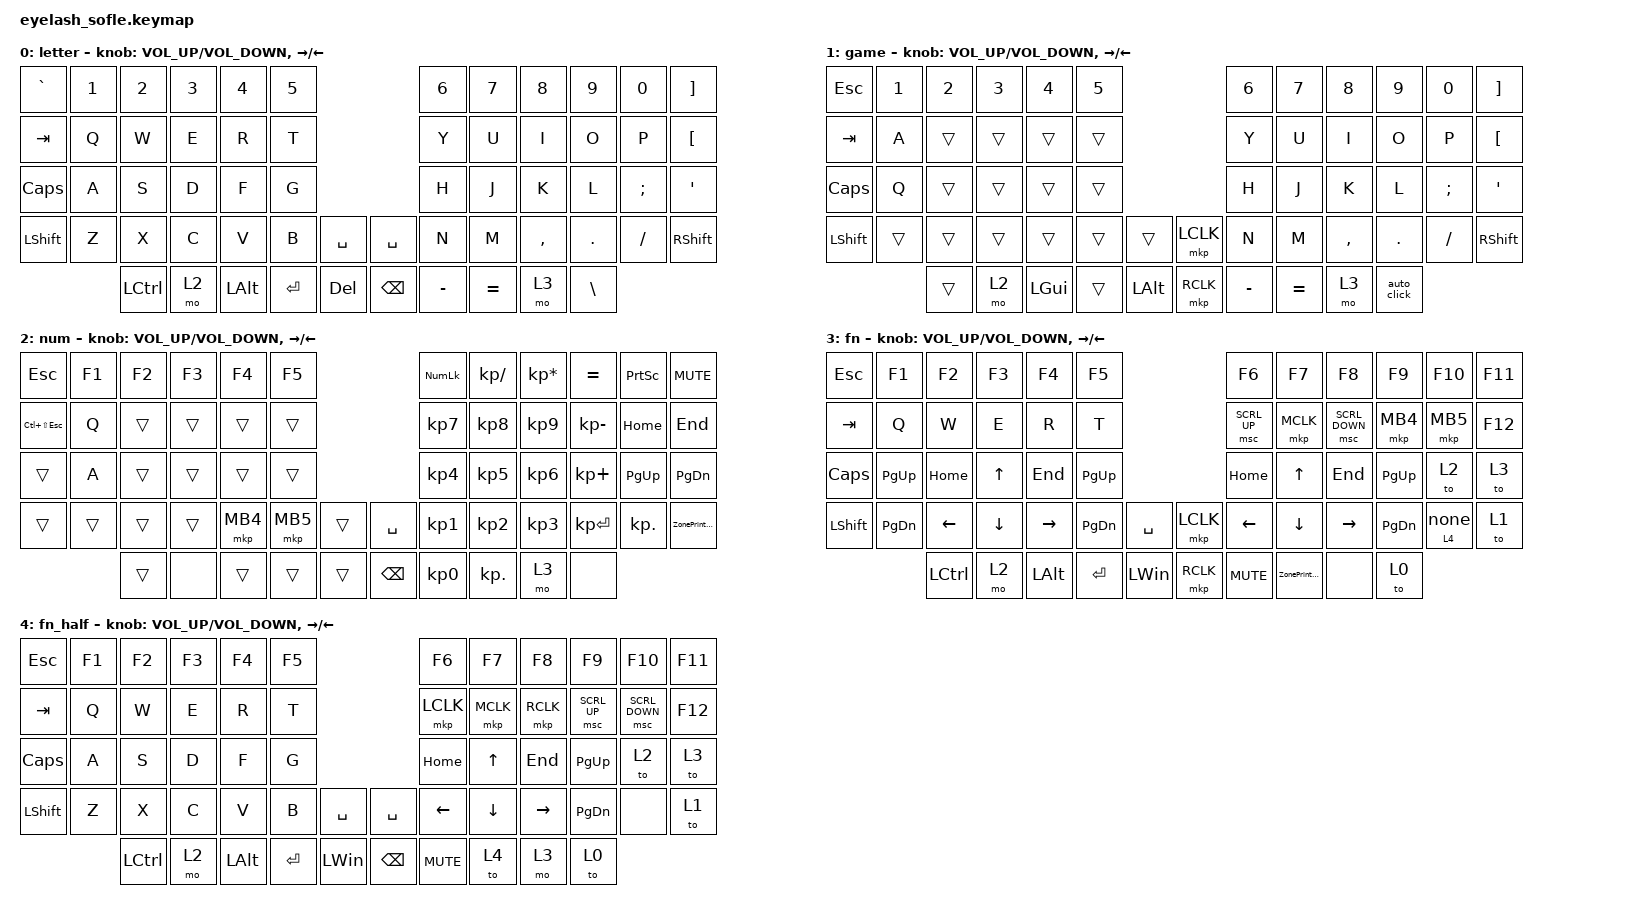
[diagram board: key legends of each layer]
#define ZMK_POINTING_DEFAULT_MOVE_VAL 1200  // 600
#define ZMK_POINTING_DEFAULT_SCRL_VAL 50   // 10

#include <input/processors.dtsi>
#include <zephyr/dt-bindings/input/input-event-codes.h>
#include <dt-bindings/zmk/mouse.h>
#include <behaviors.dtsi>
#include <dt-bindings/zmk/keys.h>
#include <dt-bindings/zmk/pointing.h>

#define BASE 0
#define LOWER 1
#define RAISE 2
#define MOUSE 3
#define SCROLL 4

//&mmv_input_listener { input-processors = <&zip_xy_scaler 2 1>; };
//&msc_input_listener { input-processors = <&zip_scroll_scaler 2 1>; };

&mmv {
    time-to-max-speed-ms = <500>;
    acceleration-exponent = <1>;
    trigger-period-ms = <16>;
};

&msc {
    time-to-max-speed-ms = <50>;
    acceleration-exponent = <1>;
};

/ {
    // Activate MOUSE layer by pressing raise and lower

    conditional_layers { compatible = "zmk,conditional-layers"; };

    combos {
        compatible = "zmk,combos";

        /*
        *lang {
        *    bindings = <&kp RALT>;
        *    key-positions = <34 35>;
        *    layers = <0>;
        *    timeout-ms = <90>;
        *};
        */
        /*
        *b_key {
        *    bindings = <&kp B>;
        *    key-positions = <35 36>;
        *    layers = <0>;
        *    timeout-ms = <90>;
        *};
        */
    };

    macros {
        arrow: arrow {
            compatible = "zmk,behavior-macro";
            #binding-cells = <0>;
            bindings = <&kp MINUS &kp GT>;
        };

        /*
        *arrow2: arrow2 {
        *    compatible = "zmk,behavior-macro";
        *    #binding-cells = <0>;
        *    bindings =
        *        <&macro_release>,
        *        <&kp LSHFT>,
        *        <&macro_tap>,
        *        <&kp EQUAL &kp GT>;
        *};
        */

        ZonePrintScreen: ZonePrintScreen {
            compatible = "zmk,behavior-macro";
            #binding-cells = <0>;
            bindings = <&kp LS(LG(S))>;
            label = "ZONEPRINTSCREEN";
        };

        lm: lm {
            compatible = "zmk,behavior-macro-two-param";
            wait-ms = <0>;
            tap-ms = <0>;
            #binding-cells = <2>;
            bindings =
                <&macro_param_1to1>,
                <&macro_press>,
                <&mo MACRO_PLACEHOLDER &macro_param_2to1>,
                <&macro_press>,
                <&kp MACRO_PLACEHOLDER>,
                <&macro_pause_for_release>,
                <&macro_param_2to1>,
                <&macro_release>,
                <&kp MACRO_PLACEHOLDER &macro_param_1to1>,
                <&macro_release>,
                <&mo MACRO_PLACEHOLDER>;
        };

        rk: rk {
            compatible = "zmk,behavior-macro-two-param";
            wait-ms = <0>;
            tap-ms = <0>;
            #binding-cells = <2>;
            bindings =
                <&macro_param_1to1>,
                <&macro_release>,
                <&kp MACRO_PLACEHOLDER &macro_param_2to1>,
                <&macro_tap>,
                <&kp MACRO_PLACEHOLDER>;
        };

        ZonePrintScreenUbuntu: ZonePrintScreenUbuntu {
            compatible = "zmk,behavior-macro";
            #binding-cells = <0>;
            bindings = <&kp LC(LS(PRINTSCREEN))>;
            label = "ZONEPRINTSCREENUBUNTU";
        };

        auto_click: auto_click {
            label = "AUTO_CLICK";
            compatible = "zmk,behavior-macro";
            #binding-cells = <0>;
            wait-ms = <25>;
            bindings = <&mkp LCLK &mkp LCLK &mkp LCLK &mkp LCLK &mkp LCLK &mkp LCLK &mkp LCLK &mkp LCLK &mkp LCLK &mkp LCLK &mkp LCLK &mkp LCLK &mkp LCLK &mkp LCLK &mkp LCLK &mkp LCLK &mkp LCLK &mkp LCLK &mkp LCLK &mkp LCLK &mkp LCLK &mkp LCLK &mkp LCLK &mkp LCLK &mkp LCLK &mkp LCLK &mkp LCLK &mkp LCLK &mkp LCLK>;
        };
    };

    behaviors {
        skq: sticky_key_quick_release {
            compatible = "zmk,behavior-sticky-key";
            #binding-cells = <1>;
            bindings = <&kp>;
            release-after-ms = <500>;
            quick-release;
        };

        /*
        *caps_word_mod: caps_word_mod {
        *    compatible = "zmk,behavior-caps-word-custom";
        *    #binding-cells = <0>;
        *    continue-list = <MINUS UNDERSCORE BSPC>;
        *};
        */

        G_ESC: G_ESC {
            compatible = "zmk,behavior-hold-tap";
            bindings = <&kp>, <&kp>;

            #binding-cells = <2>;
            tapping-term-ms = <130>;
            hold-trigger-key-positions = <0>;
            flavor = "tap-preferred";
        };

        /*
        *SH_CAPS: SH_CAPS {
        *    compatible = "zmk,behavior-tap-dance";
        *    #binding-cells = <0>;
        *    bindings = <&skq LSHFT>, <&caps_word_mod>;
        *};
        */

        mo_tg: mo_tg {
            compatible = "zmk,behavior-tap-dance";
            #binding-cells = <0>;
            bindings = <&mo 0>, <&tog 0>;
        };

        mouse_scroll: sensor_scroll {
            compatible = "zmk,behavior-sensor-rotate-var";
            #sensor-binding-cells = <2>;
            bindings = <&msc>, <&msc>;
        };

        func: func {
            compatible = "zmk,behavior-tap-dance";
            #binding-cells = <0>;
            bindings = <&kp F11>, <&kp F12>;

            tapping-term-ms = <200>;
        };

        ht: hold_tap {
            label = "hold_tap";
            compatible = "zmk,behavior-hold-tap";
            #binding-cells = <2>;
            flavor = "tap-preferred";
            tapping-term-ms = <220>;
            quick-tap-ms = <150>;
            global-quick-tap;
            bindings = <&kp>, <&kp>;
        };

        hm: homerow_mods {
            compatible = "zmk,behavior-hold-tap";
            label = "HOMEROW_MODS";
            #binding-cells = <2>;
            tapping-term-ms = <200>;
            quick_tap_ms = <0>;
            flavor = "tap-preferred";
            bindings = <&kp>, <&kp>;
        };

        td: tapdance {
            compatible = "zmk,behavior-hold-tap";
            label = "TAPDANCE";
            #binding-cells = <2>;
            tapping-term-ms = <150>;
            quick_tap_ms = <0>;
            flavor = "tap-preferred";
            bindings = <&kp>, <&kp>;
        };

        tog_game_hold: tog_game_hold {
            compatible = "zmk,behavior-hold-tap";
            #binding-cells = <2>;
            flavor = "hold-preferred";
            tapping-term-ms = <1000>;
            bindings = <&tog>, <&none>;
        };

        to_game_hold: to_game_hold {
            compatible = "zmk,behavior-hold-tap";
            label = "TO_GAME_HOLD";
            bindings = <&to>, <&none>;

            #binding-cells = <2>;
            tapping-term-ms = <1000>;
        };

        mo_game_hold: mo_game_hold {
            compatible = "zmk,behavior-hold-tap";
            label = "MO_GAME_HOLD";
            bindings = <&mo>, <&none>;

            #binding-cells = <2>;
            tapping-term-ms = <2000>;
        };
    };

    keymap {
        compatible = "zmk,keymap";

        letter_layer {
            display-name = "letter";
            bindings = <
&kp GRAVE  &kp NUMBER_1  &kp NUMBER_2      &kp NUMBER_3  &kp NUMBER_4  &kp NUMBER_5                           &kp NUMBER_6  &kp NUMBER_7  &kp NUMBER_8  &kp NUMBER_9   &kp NUMBER_0   &kp RIGHT_BRACKET
&kp TAB    &kp Q         &kp W             &kp E         &kp R         &kp T                                  &kp Y         &kp U         &kp I         &kp O          &kp P          &kp LEFT_BRACKET
&kp CAPS   &kp A         &kp S             &kp D         &kp F         &kp G                                  &kp H         &kp J         &kp K         &kp L          &kp SEMICOLON  &kp SQT
&kp LSHFT  &kp Z         &kp X             &kp C         &kp V         &kp B         &kp SPACE     &kp SPACE  &kp N         &kp M         &kp COMMA     &kp DOT        &kp SLASH      &kp RIGHT_SHIFT
                         &kp LEFT_CONTROL  &mo 2         &kp LEFT_ALT  &kp ENTER     &kp DELETE    &kp BSPC   &kp MINUS     &kp EQUAL     &mo 3         &kp BACKSLASH
            >;

            sensor-bindings =
                <&inc_dec_kp C_VOLUME_UP C_VOLUME_DOWN>,
                <&inc_dec_kp RIGHT_ARROW LEFT_ARROW>;
        };

        game_layer {
            display-name = "game";
            bindings = <
&kp ESCAPE      &kp NUMBER_1  &kp NUMBER_2  &kp NUMBER_3  &kp NUMBER_4  &kp NUMBER_5                             &kp N6     &kp N7     &kp N8     &kp N9       &kp N0         &kp RIGHT_BRACKET
&kp TAB         &kp A         &trans        &trans        &trans        &trans                                   &kp Y      &kp U      &kp I      &kp O        &kp P          &kp LEFT_BRACKET
&kp CAPSLOCK    &kp Q         &trans        &trans        &trans        &trans                                   &kp H      &kp J      &kp K      &kp L        &kp SEMICOLON  &kp SINGLE_QUOTE
&kp LEFT_SHIFT  &trans        &trans        &trans        &trans        &trans        &trans          &mkp LCLK  &kp N      &kp M      &kp COMMA  &kp DOT      &kp SLASH      &kp RSHIFT
                              &trans        &mo 2         &kp LEFT_GUI  &trans        &kp LEFT_ALT    &mkp RCLK  &kp MINUS  &kp EQUAL  &mo 3      &auto_click
            >;

            sensor-bindings =
                <&inc_dec_kp C_VOLUME_UP C_VOLUME_DOWN>,
                <&inc_dec_kp RIGHT_ARROW LEFT_ARROW>;
        };

        num_layer {
            display-name = "num";
            bindings = <
&kp ESCAPE          &kp F1  &kp F2  &kp F3  &kp F4    &kp F5                             &kp KP_NUMLOCK   &kp KP_SLASH     &kp KP_MULTIPLY  &kp EQUAL     &kp PRINTSCREEN  &kp C_MUTE
&kp LC(LS(ESCAPE))  &kp Q   &trans  &trans  &trans    &trans                             &kp KP_NUMBER_7  &kp KP_NUMBER_8  &kp KP_NUMBER_9  &kp KP_MINUS  &kp HOME         &kp END
&trans              &kp A   &trans  &trans  &trans    &trans                             &kp KP_NUMBER_4  &kp KP_NUMBER_5  &kp KP_NUMBER_6  &kp KP_PLUS   &kp PAGE_UP      &kp PAGE_DOWN
&trans              &trans  &trans  &trans  &mkp MB4  &mkp MB5  &trans    &kp SPACE      &kp KP_NUMBER_1  &kp KP_NUMBER_2  &kp KP_NUMBER_3  &kp KP_ENTER  &kp KP_DOT       &ZonePrintScreenUbuntu
                            &trans  &none   &trans    &trans    &trans    &kp BACKSPACE  &kp KP_NUMBER_0  &kp KP_DOT       &mo 3            &none
            >;

            sensor-bindings =
                <&inc_dec_kp C_VOLUME_UP C_VOLUME_DOWN>,
                <&inc_dec_kp RIGHT_ARROW LEFT_ARROW>;
        };

        fn_layer {
            display-name = "fn";
            bindings = <
&kp ESCAPE  &kp F1         &kp F2            &kp F3          &kp F4           &kp F5                                    &kp F6          &kp F7                  &kp F8           &kp F9         &kp F10            &kp F11
&kp TAB     &kp Q          &kp W             &kp E           &kp R            &kp T                                     &msc SCRL_UP    &mkp MCLK               &msc SCRL_DOWN   &mkp MB4       &mkp MB5           &kp F12
&kp CAPS    &kp PAGE_UP    &kp HOME          &kp UP_ARROW    &kp END          &kp PAGE_UP                               &kp HOME        &kp UP_ARROW            &kp END          &kp PAGE_UP    &to 2              &to 3
&kp LSHFT   &kp PAGE_DOWN  &kp LEFT_ARROW    &kp DOWN_ARROW  &kp RIGHT_ARROW  &kp PAGE_DOWN  &kp SPACE       &mkp LCLK  &kp LEFT_ARROW  &kp DOWN_ARROW          &kp RIGHT_ARROW  &kp PAGE_DOWN  &mo_game_hold 4 0  &to 1
                           &kp LEFT_CONTROL  &mo 2           &kp LEFT_ALT     &kp ENTER      &kp LEFT_WIN    &mkp RCLK  &kp C_MUTE      &ZonePrintScreenUbuntu  &none            &to 0
            >;

            sensor-bindings =
                <&inc_dec_kp C_VOLUME_UP C_VOLUME_DOWN>,
                <&inc_dec_kp RIGHT_ARROW LEFT_ARROW>;
        };

        fn_half_layer {
            display-name = "fn_half";
            bindings = <
&kp ESCAPE  &kp F1  &kp F2            &kp F3  &kp F4        &kp F5                                &kp F6          &kp F7          &kp F8           &kp F9         &kp F10         &kp F11
&kp TAB     &kp Q   &kp W             &kp E   &kp R         &kp T                                 &mkp LCLK       &mkp MCLK       &mkp RCLK        &msc SCRL_UP   &msc SCRL_DOWN  &kp F12
&kp CAPS    &kp A   &kp S             &kp D   &kp F         &kp G                                 &kp HOME        &kp UP_ARROW    &kp END          &kp PAGE_UP    &to 2           &to 3
&kp LSHFT   &kp Z   &kp X             &kp C   &kp V         &kp B      &kp SPACE       &kp SPACE  &kp LEFT_ARROW  &kp DOWN_ARROW  &kp RIGHT_ARROW  &kp PAGE_DOWN  &none           &to 1
                    &kp LEFT_CONTROL  &mo 2   &kp LEFT_ALT  &kp ENTER  &kp LEFT_WIN    &kp BSPC   &kp C_MUTE      &to 4           &mo 3            &to 0
            >;

            sensor-bindings =
                <&inc_dec_kp C_VOLUME_UP C_VOLUME_DOWN>,
                <&inc_dec_kp RIGHT_ARROW LEFT_ARROW>;
        };
    };
};
